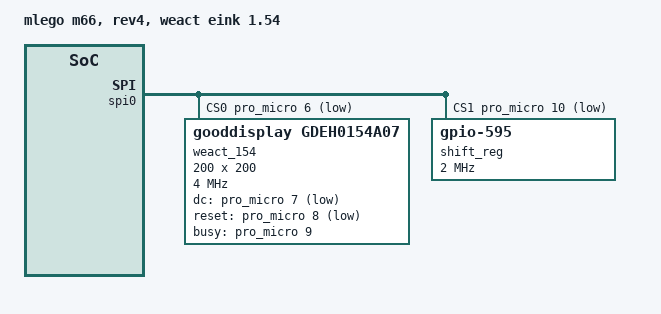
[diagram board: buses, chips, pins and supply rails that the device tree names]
/*
 * Copyright (c) 2022-2023 alin m elena
 * SPDX-License-Identifier: MIT
 */

/ {
   model = "mlego m66, rev4, weact eink 1.54";

   compatible = "mlego", "nice-nano-v2";

   chosen {
     zephyr,display = &weact_154;
   };
};

board_spi: &spi0 {
  status = "okay";
  compatible = "nordic,nrf-spim";
  pinctrl-0 = <&spi0_default>;
  pinctrl-1 = <&spi0_sleep>;
  pinctrl-names = "default", "sleep";

  cs-gpios =  <&pro_micro 6 GPIO_ACTIVE_LOW>
            , <&pro_micro 10 GPIO_ACTIVE_LOW> ;

  weact_154: ssd16xxfb@0 {
    compatible = "gooddisplay,gdeh0154a07", "solomon,ssd1681";
    spi-max-frequency = <4000000>;
    reg = <0>;
    width = <200>;
    height = <200>;
    dc-gpios = <&pro_micro 7 GPIO_ACTIVE_LOW>;
    reset-gpios = <&pro_micro 8 GPIO_ACTIVE_LOW>;
    busy-gpios = <&pro_micro 9 GPIO_ACTIVE_HIGH>;

    tssv = <0x80>;

    full {
      border-waveform = <0x05>;
    };

    partial {
      border-waveform = <0x3c>;
    };
  };

  shift_reg: 595@0 {
    compatible = "zmk,gpio-595";
    status = "okay";
    gpio-controller;
    spi-max-frequency = <2000000>;
    #gpio-cells = <2>;
    reg = <1>;
    ngpios = <16>;
  };
};
